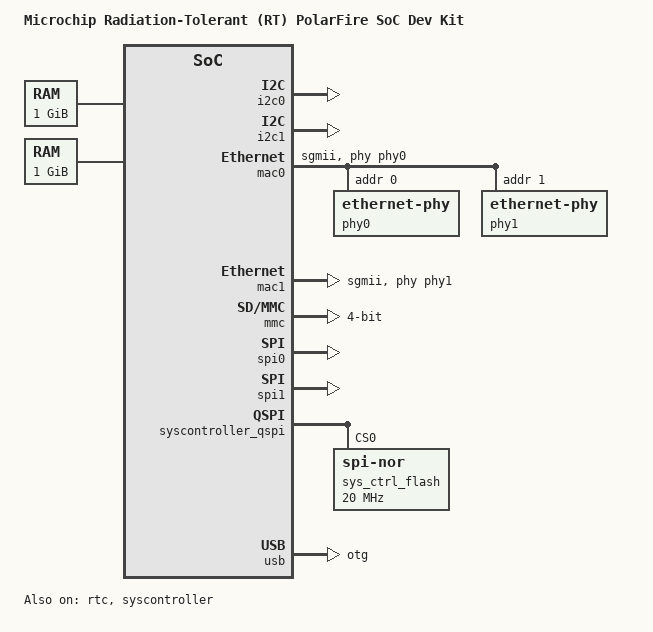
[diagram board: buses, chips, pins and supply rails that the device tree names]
// SPDX-License-Identifier: (GPL-2.0 OR MIT)
/* Copyright (c) 2020-2026 Microchip Technology Inc */

/dts-v1/;

#include "../../../dts/upstream/src/riscv/microchip/mpfs.dtsi"

/ {
	model = "Microchip Radiation-Tolerant (RT) PolarFire SoC Dev Kit";
	compatible = "microchip,rtpfs-dev-kit-reference-rtl-v2610",
		     "microchip,rtpfs-dev-kit",
		     "microchip,rtpfs",
		     "microchip,mpfs";

	aliases {
		ethernet0 = &mac1;
		serial0 = &mmuart0;
		serial1 = &mmuart1;
	};

	chosen {
		stdout-path = "serial1:115200n8";
	};

	ddrc_cache_lo: memory@80000000 {
		device_type = "memory";
		reg = <0x0 0x80000000 0x0 0x40000000>;
		status = "okay";
	};

	ddrc_cache_hi: memory@1040000000 {
		device_type = "memory";
		reg = <0x10 0x40000000 0x0 0x40000000>;
		status = "okay";
	};

	reserved-memory {
		#address-cells = <2>;
		#size-cells = <2>;
		ranges;

		hss_payload: region@BFC00000 {
			reg = <0x0 0xBFC00000 0x0 0x400000>;
			no-map;
		};
	};
};

&gpio2 {
	status = "okay";
};

&i2c0 {
	status = "okay";
};

&i2c1 {
	status = "okay";
};

&mac0 {
	status = "okay";
	phy-mode = "sgmii";
	phy-handle = <&phy0>;

	phy0: ethernet-phy@0 {
		reg = <0>;
	};

	phy1: ethernet-phy@1 {
		reg = <1>;
	};
};

&mac1 {
	status = "okay";
	phy-mode = "sgmii";
	phy-handle = <&phy1>;
};

&mbox {
	status = "okay";
};

&mmc {
	bus-width = <4>;
	disable-wp;
	cap-sd-highspeed;
	cap-mmc-highspeed;
	mmc-ddr-1_8v;
	mmc-hs200-1_8v;
	sd-uhs-sdr12;
	sd-uhs-sdr25;
	sd-uhs-sdr50;
	sd-uhs-sdr104;
	status = "okay";
};

&mmuart1 {
	status = "okay";
};

&refclk {
	clock-frequency = <125000000>;
};

&rtc {
	status = "okay";
};

&spi0 {
	status = "okay";
};

&spi1 {
	status = "okay";
};

&syscontroller {
	status = "okay";
};

&syscontroller_qspi {

	status = "okay";

	sys_ctrl_flash: flash@0 { // MT25QL01GBBB8ESF-0SIT
		compatible = "jedec,spi-nor";
		#address-cells = <1>;
		#size-cells = <1>;
		spi-max-frequency = <20000000>;
		spi-rx-bus-width = <1>;
		reg = <0>;
	};
};

&usb {
	status = "okay";
	dr_mode = "otg";
};
